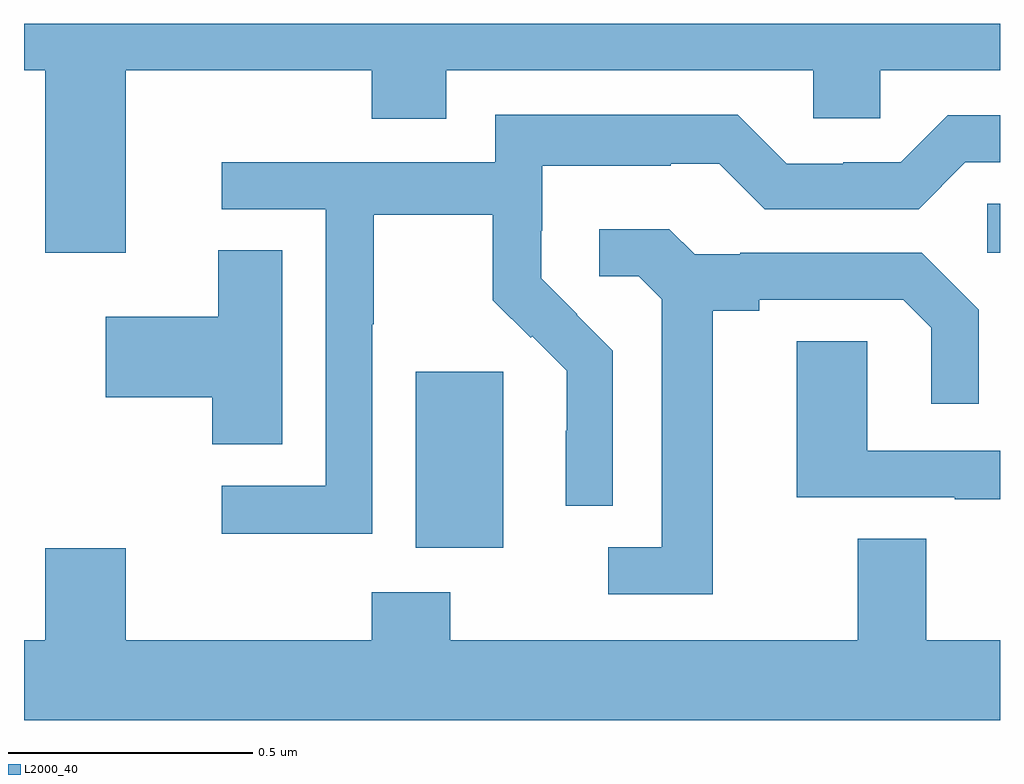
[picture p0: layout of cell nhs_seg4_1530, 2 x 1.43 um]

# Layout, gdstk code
import gdstk
lib = gdstk.Library(unit=1e-6, precision=1e-09)
def R(c, l, rs):  # rectangles x0, y0, x1, y1
    for r in rs: c.add(gdstk.rectangle(r[:2], r[2:], *l))
def P(c, l, *ps):  # polygons
    for p in ps: c.add(gdstk.Polygon(p, *l))
L2000_40 = (2000, 40)

nhs_seg4_1530 = lib.new_cell('nhs_seg4_1530')
R(nhs_seg4_1530, L2000_40, [(129.803,811.826,129.982,812.187), (130.974,812.43,131,812.531)])
P(nhs_seg4_1530, L2000_40, [(129.208,812.804),(129.713,812.804),(129.713,812.705),(129.865,812.705),(129.865,812.804),(130.617,812.804),(130.617,812.706),(130.755,812.706),(130.755,812.804),(131,812.804),(131,812.9),(129,812.9),(129,812.804),(129.044,812.804),(129.044,812.43),(129.208,812.43)],
  [(129.714,812.284),(129.717,812.284),(129.717,812.508),(129.961,812.508),(129.961,812.333),(130.038,812.256),(130.041,812.259),(130.112,812.189),(130.112,812.066),(130.11,812.066),(130.11,811.912),(130.206,811.912),(130.206,812.23),(130.133,812.303),(130.134,812.304),(130.06,812.378),(130.06,812.475),(130.062,812.475),(130.062,812.609),(130.325,812.609),(130.325,812.613),(130.425,812.613),(130.518,812.52),(130.833,812.52),(130.929,812.616),(131,812.616),(131,812.712),(130.893,812.712),(130.797,812.616),(130.679,812.616),(130.679,812.613),(130.563,812.613),(130.463,812.713),(129.966,812.713),(129.966,812.616),(129.405,812.616),(129.405,812.52),(129.618,812.52),(129.618,811.953),(129.405,811.953),(129.405,811.855),(129.714,811.855)],
  [(130.411,812.312),(130.507,812.312),(130.507,812.334),(130.802,812.334),(130.859,812.277),(130.859,812.121),(130.956,812.121),(130.956,812.314),(130.84,812.43),(130.468,812.43),(130.468,812.427),(130.374,812.427),(130.322,812.479),(130.179,812.479),(130.179,812.382),(130.26,812.382),(130.307,812.335),(130.307,811.827),(130.197,811.827),(130.197,811.731),(130.411,811.731)],
  [(129.529,812.435),(129.398,812.435),(129.398,812.299),(129.168,812.299),(129.168,812.134),(129.386,812.134),(129.386,812.038),(129.529,812.038)],
  [(131,812.025),(130.728,812.025),(130.728,812.249),(130.583,812.249),(130.583,811.929),(130.907,811.929),(130.907,811.925),(131,811.925)],
  [(131,811.636),(130.849,811.636),(130.849,811.844),(130.709,811.844),(130.709,811.636),(129.873,811.636),(129.873,811.735),(129.713,811.735),(129.713,811.636),(129.208,811.636),(129.208,811.825),(129.044,811.825),(129.044,811.636),(129,811.636),(129,811.472),(131,811.472)])

lib.write_gds('nhs_seg4_1530.gds')
